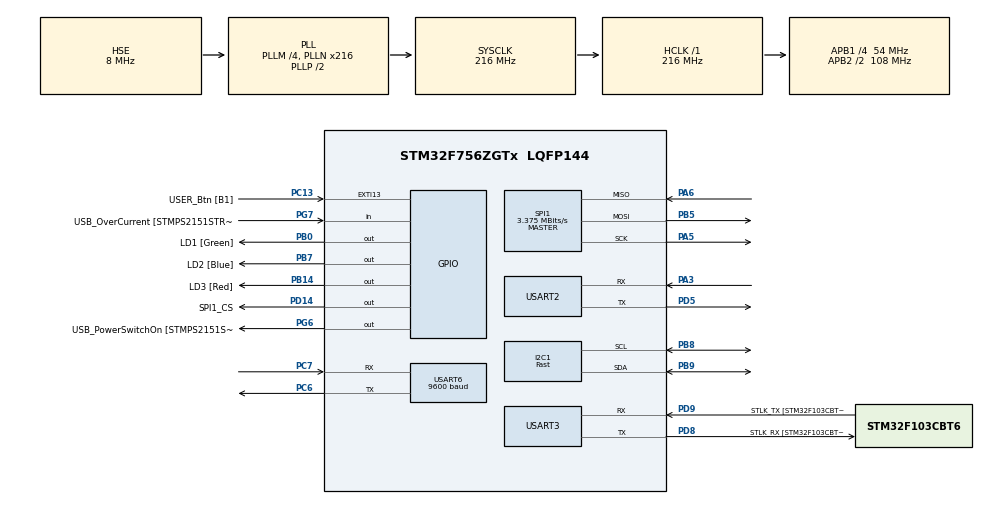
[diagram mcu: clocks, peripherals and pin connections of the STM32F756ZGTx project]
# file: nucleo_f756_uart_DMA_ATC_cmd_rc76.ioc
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Dma.I2C1_RX.2.Direction=DMA_PERIPH_TO_MEMORY
Dma.I2C1_RX.2.FIFOMode=DMA_FIFOMODE_DISABLE
Dma.I2C1_RX.2.Instance=DMA1_Stream0
Dma.I2C1_RX.2.MemDataAlignment=DMA_MDATAALIGN_BYTE
Dma.I2C1_RX.2.MemInc=DMA_MINC_ENABLE
Dma.I2C1_RX.2.Mode=DMA_NORMAL
Dma.I2C1_RX.2.PeriphDataAlignment=DMA_PDATAALIGN_BYTE
Dma.I2C1_RX.2.PeriphInc=DMA_PINC_DISABLE
Dma.I2C1_RX.2.Priority=DMA_PRIORITY_MEDIUM
Dma.I2C1_TX.3.Direction=DMA_MEMORY_TO_PERIPH
Dma.I2C1_TX.3.FIFOMode=DMA_FIFOMODE_DISABLE
Dma.I2C1_TX.3.Instance=DMA1_Stream7
Dma.I2C1_TX.3.MemDataAlignment=DMA_MDATAALIGN_BYTE
Dma.I2C1_TX.3.MemInc=DMA_MINC_ENABLE
Dma.I2C1_TX.3.Mode=DMA_NORMAL
Dma.I2C1_TX.3.PeriphDataAlignment=DMA_PDATAALIGN_BYTE
Dma.I2C1_TX.3.PeriphInc=DMA_PINC_DISABLE
Dma.I2C1_TX.3.Priority=DMA_PRIORITY_MEDIUM
Dma.Request0=USART2_RX
Dma.Request1=USART2_TX
Dma.Request2=I2C1_RX
Dma.Request3=I2C1_TX
Dma.Request4=SPI1_RX
Dma.Request5=SPI1_TX
Dma.Request6=USART6_RX
Dma.SPI1_RX.4.Direction=DMA_PERIPH_TO_MEMORY
Dma.SPI1_RX.4.FIFOMode=DMA_FIFOMODE_ENABLE
Dma.SPI1_RX.4.FIFOThreshold=DMA_FIFO_THRESHOLD_HALFFULL
Dma.SPI1_RX.4.Instance=DMA2_Stream0
Dma.SPI1_RX.4.MemBurst=DMA_MBURST_SINGLE
Dma.SPI1_RX.4.MemDataAlignment=DMA_MDATAALIGN_BYTE
Dma.SPI1_RX.4.MemInc=DMA_MINC_ENABLE
Dma.SPI1_RX.4.Mode=DMA_NORMAL
Dma.SPI1_RX.4.PeriphBurst=DMA_PBURST_SINGLE
Dma.SPI1_RX.4.PeriphDataAlignment=DMA_PDATAALIGN_BYTE
Dma.SPI1_RX.4.PeriphInc=DMA_PINC_DISABLE
Dma.SPI1_RX.4.Priority=DMA_PRIORITY_VERY_HIGH
Dma.SPI1_TX.5.Direction=DMA_MEMORY_TO_PERIPH
Dma.SPI1_TX.5.FIFOMode=DMA_FIFOMODE_ENABLE
Dma.SPI1_TX.5.FIFOThreshold=DMA_FIFO_THRESHOLD_HALFFULL
Dma.SPI1_TX.5.Instance=DMA2_Stream3
Dma.SPI1_TX.5.MemBurst=DMA_MBURST_SINGLE
Dma.SPI1_TX.5.MemDataAlignment=DMA_MDATAALIGN_BYTE
Dma.SPI1_TX.5.MemInc=DMA_MINC_ENABLE
Dma.SPI1_TX.5.Mode=DMA_NORMAL
Dma.SPI1_TX.5.PeriphBurst=DMA_PBURST_SINGLE
Dma.SPI1_TX.5.PeriphDataAlignment=DMA_PDATAALIGN_BYTE
Dma.SPI1_TX.5.PeriphInc=DMA_PINC_DISABLE
Dma.SPI1_TX.5.Priority=DMA_PRIORITY_VERY_HIGH
Dma.USART2_RX.0.Direction=DMA_PERIPH_TO_MEMORY
Dma.USART2_RX.0.FIFOMode=DMA_FIFOMODE_DISABLE
Dma.USART2_RX.0.Instance=DMA1_Stream5
Dma.USART2_RX.0.MemDataAlignment=DMA_MDATAALIGN_BYTE
Dma.USART2_RX.0.MemInc=DMA_MINC_ENABLE
Dma.USART2_RX.0.Mode=DMA_CIRCULAR
Dma.USART2_RX.0.PeriphDataAlignment=DMA_PDATAALIGN_BYTE
Dma.USART2_RX.0.PeriphInc=DMA_PINC_DISABLE
Dma.USART2_RX.0.Priority=DMA_PRIORITY_LOW
Dma.USART2_TX.1.Direction=DMA_MEMORY_TO_PERIPH
Dma.USART2_TX.1.FIFOMode=DMA_FIFOMODE_DISABLE
Dma.USART2_TX.1.Instance=DMA1_Stream6
Dma.USART2_TX.1.MemDataAlignment=DMA_MDATAALIGN_BYTE
Dma.USART2_TX.1.MemInc=DMA_MINC_ENABLE
Dma.USART2_TX.1.Mode=DMA_NORMAL
Dma.USART2_TX.1.PeriphDataAlignment=DMA_PDATAALIGN_BYTE
Dma.USART2_TX.1.PeriphInc=DMA_PINC_DISABLE
Dma.USART2_TX.1.Priority=DMA_PRIORITY_LOW
Dma.USART6_RX.6.Direction=DMA_PERIPH_TO_MEMORY
Dma.USART6_RX.6.FIFOMode=DMA_FIFOMODE_DISABLE
Dma.USART6_RX.6.Instance=DMA2_Stream1
Dma.USART6_RX.6.MemDataAlignment=DMA_MDATAALIGN_BYTE
Dma.USART6_RX.6.MemInc=DMA_MINC_ENABLE
Dma.USART6_RX.6.Mode=DMA_CIRCULAR
Dma.USART6_RX.6.PeriphDataAlignment=DMA_PDATAALIGN_BYTE
Dma.USART6_RX.6.PeriphInc=DMA_PINC_DISABLE
Dma.USART6_RX.6.Priority=DMA_PRIORITY_VERY_HIGH
FREERTOS.Tasks01=defaultTask,24,128,StartDefaultTask,Default,NULL,Dynamic,NULL,NULL
FREERTOS.configENABLE_FPU=1
FREERTOS.configTOTAL_HEAP_SIZE=30720
I2C1.I2C_Speed_Mode=I2C_Fast
I2C1.Timing=0x6000030D
Mcu.Family=STM32F7
Mcu.Name=STM32F756ZGTx
Mcu.Package=LQFP144
NVIC.DMA1_Stream0_IRQn=true\:5\:0\:false\:false\:true\:true\:false\:true\:true
NVIC.DMA1_Stream5_IRQn=true\:5\:0\:false\:false\:true\:true\:false\:true\:true
NVIC.DMA1_Stream6_IRQn=true\:5\:0\:false\:false\:true\:true\:false\:true\:true
NVIC.DMA1_Stream7_IRQn=true\:5\:0\:false\:false\:true\:true\:false\:true\:true
NVIC.DMA2_Stream0_IRQn=true\:5\:0\:false\:false\:true\:true\:false\:true\:true
NVIC.DMA2_Stream1_IRQn=true\:5\:0\:false\:false\:true\:true\:false\:true\:true
NVIC.DMA2_Stream3_IRQn=true\:5\:0\:false\:false\:true\:true\:false\:true\:true
NVIC.I2C1_ER_IRQn=true\:5\:0\:false\:false\:true\:true\:true\:true\:true
NVIC.I2C1_EV_IRQn=true\:5\:0\:false\:false\:true\:true\:true\:true\:true
NVIC.PriorityGroup=NVIC_PRIORITYGROUP_4
NVIC.SPI1_IRQn=true\:5\:0\:false\:false\:true\:true\:true\:true\:true
NVIC.TIM6_DAC_IRQn=true\:15\:0\:false\:false\:true\:false\:false\:true\:true
NVIC.TimeBase=TIM6_DAC_IRQn
NVIC.TimeBaseIP=TIM6
NVIC.USART2_IRQn=true\:5\:0\:false\:false\:true\:true\:true\:true\:true
NVIC.USART6_IRQn=true\:5\:0\:false\:false\:true\:true\:true\:true\:true
NimaLTD.I-CUBE-ATC.4.2.2.ATC_DEBUG=ATC_DEBUG_ENABLE
NimaLTD.I-CUBE-ATC.4.2.2.ATC_RTOS=ATC_RTOS_CMSIS_V2
PA1.GPIO_Label=RMII_REF_CLK [LAN8742A-CZ-TR_REFCLK0]
PA1.Signal=ETH_REF_CLK
PA10.GPIO_Label=USB_ID
PA10.Signal=USB_OTG_FS_ID
PA11.GPIO_Label=USB_DM
PA11.Signal=USB_OTG_FS_DM
PA12.GPIO_Label=USB_DP
PA12.Signal=USB_OTG_FS_DP
PA13.GPIO_Label=TMS
PA13.Mode=Serial_Wire
PA13.Signal=SYS_JTMS-SWDIO
PA14.GPIO_Label=TCK
PA14.Mode=Serial_Wire
PA14.Signal=SYS_JTCK-SWCLK
PA2.GPIO_Label=RMII_MDIO [LAN8742A-CZ-TR_MDIO]
PA2.Signal=ETH_MDIO
PA3.Mode=Asynchronous
PA3.Signal=USART2_RX
PA5.Mode=Full_Duplex_Master
PA5.Signal=SPI1_SCK
PA6.Mode=Full_Duplex_Master
PA6.Signal=SPI1_MISO
PA7.GPIO_Label=RMII_CRS_DV [LAN8742A-CZ-TR_CRS_DV]
PA7.Signal=ETH_CRS_DV
PA8.GPIO_Label=USB_SOF [TP1]
PA8.Signal=USB_OTG_FS_SOF
PA9.GPIO_Label=USB_VBUS
PA9.Signal=USB_OTG_FS_VBUS
PB0.GPIO_Label=LD1 [Green]
PB0.Signal=GPIO_Output
PB13.GPIO_Label=RMII_TXD1 [LAN8742A-CZ-TR_TXD1]
PB13.Signal=ETH_TXD1
PB14.GPIO_Label=LD3 [Red]
PB14.Signal=GPIO_Output
PB3.GPIO_Label=SW0
PB3.Signal=SYS_JTDO-SWO
PB5.Mode=Full_Duplex_Master
PB5.Signal=SPI1_MOSI
PB7.GPIO_Label=LD2 [Blue]
PB7.Signal=GPIO_Output
PB8.Mode=I2C
PB8.Signal=I2C1_SCL
PB9.Mode=I2C
PB9.Signal=I2C1_SDA
PC1.GPIO_Label=RMII_MDC [LAN8742A-CZ-TR_MDC]
PC1.Signal=ETH_MDC
PC13.GPIO_Label=USER_Btn [B1]
PC13.Signal=GPXTI13
PC14/OSC32_IN.Mode=LSE-External-Oscillator
PC14/OSC32_IN.Signal=RCC_OSC32_IN
PC15/OSC32_OUT.Mode=LSE-External-Oscillator
PC15/OSC32_OUT.Signal=RCC_OSC32_OUT
PC4.GPIO_Label=RMII_RXD0 [LAN8742A-CZ-TR_RXD0]
PC4.Signal=ETH_RXD0
PC5.GPIO_Label=RMII_RXD1 [LAN8742A-CZ-TR_RXD1]
PC5.Signal=ETH_RXD1
PC6.Mode=Asynchronous
PC6.Signal=USART6_TX
PC7.Mode=Asynchronous
PC7.Signal=USART6_RX
PD14.GPIO_Label=SPI1_CS
PD14.GPIO_Speed=GPIO_SPEED_FREQ_VERY_HIGH
PD14.PinState=GPIO_PIN_SET
PD14.Signal=GPIO_Output
PD5.Mode=Asynchronous
PD5.Signal=USART2_TX
PD8.GPIO_Label=STLK_RX [STM32F103CBT6_PA3]
PD8.Mode=Asynchronous
PD8.Signal=USART3_TX
PD9.GPIO_Label=STLK_TX [STM32F103CBT6_PA2]
PD9.Mode=Asynchronous
PD9.Signal=USART3_RX
PG11.GPIO_Label=RMII_TX_EN [LAN8742A-CZ-TR_TXEN]
PG11.Signal=ETH_TX_EN
PG13.GPIO_Label=RMII_TXD0 [LAN8742A-CZ-TR_TXD0]
PG13.Signal=ETH_TXD0
PG6.GPIO_Label=USB_PowerSwitchOn [STMPS2151STR_EN]
PG6.Signal=GPIO_Output
PG7.GPIO_Label=USB_OverCurrent [STMPS2151STR_FAULT]
PG7.Signal=GPIO_Input
PH0/OSC_IN.GPIO_Label=MCO [STM32F103CBT6_PA8]
PH0/OSC_IN.Mode=HSE-External-Clock-Source
PH0/OSC_IN.Signal=RCC_OSC_IN
PH1/OSC_OUT.Mode=HSE-External-Clock-Source
PH1/OSC_OUT.Signal=RCC_OSC_OUT
ProjectManager.HeapSize=0x2000
ProjectManager.StackSize=0x500
ProjectManager.TargetToolchain=CMake
RCC.48MHZClocksFreq_Value=24000000
RCC.AHBFreq_Value=216000000
RCC.APB1CLKDivider=RCC_HCLK_DIV4
RCC.APB1Freq_Value=54000000
RCC.APB1TimFreq_Value=108000000
RCC.APB2CLKDivider=RCC_HCLK_DIV2
RCC.APB2Freq_Value=108000000
RCC.APB2TimFreq_Value=216000000
RCC.CortexFreq_Value=216000000
RCC.HCLKFreq_Value=216000000
RCC.HSE_VALUE=8000000
RCC.HSI_VALUE=16000000
RCC.PLLM=4
RCC.PLLMUL=RCC_PLL_MUL9
RCC.PLLN=216
RCC.PLLQ=3
RCC.PLLSourceVirtual=RCC_PLLSOURCE_HSE
RCC.PRESCALERUSB=RCC_USBCLKSOURCE_PLL_DIV1_5
RCC.SYSCLKFreq_VALUE=216000000
RCC.SYSCLKSource=RCC_SYSCLKSOURCE_PLLCLK
RCC.SYSCLKSourceVirtual=RCC_SYSCLKSOURCE_PLLCLK
RCC.USBFreq_Value=144000000
RCC.VCOOutputFreq_Value=432000000
SPI1.BaudRatePrescaler=SPI_BAUDRATEPRESCALER_32
SPI1.CalculateBaudRate=3.375 MBits/s
SPI1.DataSize=SPI_DATASIZE_8BIT
SPI1.Direction=SPI_DIRECTION_2LINES
SPI1.Mode=SPI_MODE_MASTER
SPI1.VirtualType=VM_MASTER
USART2.VirtualMode-Asynchronous=VM_ASYNC
USART3.VirtualMode-Asynchronous=VM_ASYNC
USART6.BaudRate=9600
USART6.VirtualMode-Asynchronous=VM_ASYNC
VP_FREERTOS_VS_CMSIS_V2.Mode=CMSIS_V2
VP_SYS_VS_tim6.Mode=TIM6
board=NUCLEO-F756ZG

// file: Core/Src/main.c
/* USER CODE BEGIN Header */
/**
  ******************************************************************************
  * @file           : main.c
  * @brief          : Main program body
  ******************************************************************************
  * @attention
  *
  * Copyright (c) 2025 STMicroelectronics.
  * All rights reserved.
  *
  * This software is licensed under terms that can be found in the LICENSE file
  * in the root directory of this software component.
  * If no LICENSE file comes with this software, it is provided AS-IS.
  *
  ******************************************************************************
  */
/* USER CODE END Header */
#include "main.h"
#include "cmsis_os.h"
#include "dma.h"
#include "i2c.h"
#include "spi.h"
#include "usart.h"
#include "gpio.h"

/* USER CODE BEGIN Includes */
#include "config.h"
#include "print.h"
#include "mqtt_secrets.h"
#include "rc76xx_mqtt.h"
#include "stdio.h"
#include "stdlib.h"
#include "string.h"
#include "uat_freertos.h" // your parser header

#include "bme280_tasks.h"
// #include "bme280.h"
// #include "bme280_porting.h"
#include "datalogger.h"

// #include "w25qxx_hal.h"  // not use.
#include "driver_w25qxx_interface.h"
#include "driver_w25qxx_basic.h"
#include "mpu6050_task.h"
#include "sensor_conversions.h"

#include "lwgps.h"
#include "peripheral_init_helper.h"
/* USER CODE END Includes */

/* USER CODE BEGIN PD */
// Ring buffer configuration (64KB FIFO)
// #define FLASH_RING_BUFFER_SIZE (64 * 1024)  // 64KB - can be changed later
#define RING_BUFFER_START_ADDRESS (DATA_START_ADDRESS)
#define RING_BUFFER_END_ADDRESS (RING_BUFFER_START_ADDRESS + FLASH_RING_BUFFER_SIZE)
#define RECORDS_PER_PAGE (W25Q64_PAGE_SIZE / sizeof(BME280_Record_t))

// Queue configuration
#define QUEUE_SEND_TIMEOUT_MS 1000
// #define DATA_LOGGER_QUEUE_SIZE 20
#define MAX_QUEUE_WAIT_MS 1000
//#define QUEUE_SEND_TIMEOUT_MS 1000
// #define DATA_LOGGER_QUEUE_SIZE 20
//#define MAX_QUEUE_WAIT_MS 1000

#define GPS_RX_SIZE 512
/* USER CODE END PD */

/* USER CODE BEGIN PV */
extern UART_HandleTypeDef huart2;
extern I2C_HandleTypeDef hi2c1;
extern SPI_HandleTypeDef hspi1;
static RC76XX_Handle_t mqttHandle;
// struct bme280_dev bme_device;
// struct bme280_data bme_comp_data;

// lwgps variables
volatile uint8_t gps_dma_flag = 0;
uint8_t gpsRx[GPS_RX_SIZE];
lwgps_t hgps;

/* USER CODE END PV */

void SystemClock_Config(void);
void MX_FREERTOS_Init(void);
/* USER CODE BEGIN PFP */
// static void App_Task(void *pvParameters);
static void MQTT_Task(void *pvParameters);
// void StartBme280Task(void *argument);
void StartW25QTestTask(void *argument);
void StartDataLoggerTask(void *argument);
void vGpsTaskStart(void *argument);

// // Queue interface functions (non-static, called from other tasks)
// BaseType_t DataLogger_QueueBME280Data(struct bme280_data *bme_data);
// BaseType_t DataLogger_QueueSystemEvent(const char *event_text);

// BME280 Task and helper functions
// void StartBme280Task(void *argument);

void PrintBufferHex(const uint8_t *buffer, uint32_t size, uint32_t baseAddress);
/* USER CODE END PFP */

/* USER CODE BEGIN 0 */

void HAL_UART_RxCpltCallback(UART_HandleTypeDef *huart)
{
  if (huart->Instance == USART6)
  {
    gps_dma_flag = 1;
  }
  /* If the huart1 buffer is full, mark the flag. */
}

// DMA completion callbacks
void HAL_SPI_TxCpltCallback(SPI_HandleTypeDef *hspi)
{
  BaseType_t xHigherPriorityTaskWoken = pdFALSE;

  if (hspi == &hspi1 && xW25QxxTaskHandle != NULL)
  {
    // Notify the waiting W25QXX task that TX is complete
    vTaskNotifyGiveFromISR(xW25QxxTaskHandle, &xHigherPriorityTaskWoken);

    // Perform context switch if necessary
    portYIELD_FROM_ISR(xHigherPriorityTaskWoken);
  }
}

void HAL_SPI_RxCpltCallback(SPI_HandleTypeDef *hspi)
{
  BaseType_t xHigherPriorityTaskWoken = pdFALSE;

  if (hspi == &hspi1 && xW25QxxTaskHandle != NULL)
  {
    // Notify the waiting W25QXX task that RX is complete
    vTaskNotifyGiveFromISR(xW25QxxTaskHandle, &xHigherPriorityTaskWoken);

    // Perform context switch if necessary
    portYIELD_FROM_ISR(xHigherPriorityTaskWoken);
  }
}

void HAL_SPI_TxRxCpltCallback(SPI_HandleTypeDef *hspi)
{
  BaseType_t xHigherPriorityTaskWoken = pdFALSE;

  if (hspi == &hspi1 && xW25QxxTaskHandle != NULL)
  {
    // Notify the waiting W25QXX task that TxRx is complete
    vTaskNotifyGiveFromISR(xW25QxxTaskHandle, &xHigherPriorityTaskWoken);

    // Perform context switch if necessary
    portYIELD_FROM_ISR(xHigherPriorityTaskWoken);
  }
}

void HAL_SPI_ErrorCallback(SPI_HandleTypeDef *hspi)
{
  BaseType_t xHigherPriorityTaskWoken = pdFALSE;

  if (hspi == &hspi1 && xW25QxxTaskHandle != NULL)
  {
    // Notify the waiting task even on error so it doesn't hang
    vTaskNotifyGiveFromISR(xW25QxxTaskHandle, &xHigherPriorityTaskWoken);

    // Perform context switch if necessary
    portYIELD_FROM_ISR(xHigherPriorityTaskWoken);
  }
}

/* USER CODE END 0 */

int main(void)
{

  /* MCU Configuration--------------------------------------------------------*/

  /* Reset of all peripherals, Initializes the Flash interface and the Systick. */
  HAL_Init();

  /* Configure the system clock */
  SystemClock_Config();

  /* Initialize all configured peripherals */
  MX_GPIO_Init();
  MX_DMA_Init();
  MX_USART2_UART_Init();
  MX_USART3_UART_Init();
  MX_I2C1_Init();
  MX_SPI1_Init();
  MX_USART6_UART_Init();
  /* USER CODE BEGIN 2 */

  /* Init scheduler */
  osKernelInitialize();
  // MX_FREERTOS_Init();
  // Create the print task
  BaseType_t printInitStatus = xPrintInit(CONFIG_TASK_PRIORITY_NORMAL);
  configASSERT(printInitStatus == pdPASS);
  DEBUG_PRINT_DEBUG("Print task created\n");

  // Initialize uAT parser on huart2
  uAT_Result_t result = uAT_Init(&huart2);
  if (result != UAT_OK) {
    // handle init error (blink LED, etc.)
    DEBUG_PRINT_ERROR("uAT parser initialization failed with error code: %d\n",
                      result);
    Error_Handler();
  }
  DEBUG_PRINT_DEBUG("uAT parser initialized\n");

  BaseType_t TaskStatus;
  // Create the uAT parser task
  // Create I2C mutex
  SemaphoreHandle_t g_i2c_mutex = NULL;

  // In main() or initialization function:
  g_i2c_mutex = xSemaphoreCreateMutex();
  configASSERT(g_i2c_mutex != NULL);
  DEBUG_PRINT_DEBUG("I2C mutex created\n");
  if (xSemaphoreTake(g_i2c_mutex, portMAX_DELAY) != pdTRUE)
  {
    DEBUG_PRINT_ERROR("Failed to take I2C mutex\n");
    Error_Handler();
  }
  DEBUG_PRINT_DEBUG("I2C mutex taken\n");
  if (xSemaphoreGive(g_i2c_mutex) != pdTRUE)
  {
    DEBUG_PRINT_ERROR("Failed to give I2C mutex\n");
    Error_Handler();
  }
  DEBUG_PRINT_DEBUG("I2C mutex given\n");

  // Create uAT parser task
  TaskStatus = xTaskCreate(uAT_Task,
                           "uAT_Task",
                           CONFIG_TASK_STACK_SIZE_UAT,
                           NULL,
                           CONFIG_TASK_PRIORITY_NORMAL,
                           NULL);
  configASSERT(TaskStatus == pdPASS);
  DEBUG_PRINT_DEBUG("uAT task created\n");

  TaskStatus = xTaskCreate(MQTT_Task,
                           "MQTT_Task",
                           CONFIG_TASK_STACK_SIZE_MQTT,
                           NULL,
                           CONFIG_TASK_PRIORITY_NORMAL,
                           NULL);
  configASSERT(TaskStatus == pdPASS);
  DEBUG_PRINT_DEBUG("MQTT task created\n");

  // Create the BME280 task
  TaskStatus = xTaskCreate(StartBme280Task,
                           "BME280_Task",
                           CONFIG_TASK_STACK_SIZE_BME280, // Adjust stack size as needed
                           (void *)g_i2c_mutex,
                           CONFIG_TASK_PRIORITY_NORMAL,
                           NULL);
  configASSERT(TaskStatus == pdPASS);
  DEBUG_PRINT_DEBUG("BME280 task created\n");
  // Create MPU6050 task
  TaskStatus = xTaskCreate(MPU6050_Task_Start,
                           "MPU6050",
                           CONFIG_TASK_STACK_SIZE_MPU6050,
                           (void *)g_i2c_mutex,
                           CONFIG_TASK_PRIORITY_NORMAL,
                           NULL);
  configASSERT(TaskStatus == pdPASS);
  DEBUG_PRINT_DEBUG("MPU6050 task created\n");

  // Create the Data Logger task
  TaskStatus = xTaskCreate(
                          StartDataLoggerTask,
                          "DataLogger",
                          CONFIG_TASK_STACK_SIZE_DATALOGGER,
                          NULL,
                          CONFIG_TASK_PRIORITY_NORMAL,
                          NULL);
  configASSERT(TaskStatus == pdPASS);
  DEBUG_PRINT_DEBUG("DataLogger task created\n");

  // Create the GPS task
  TaskStatus = xTaskCreate(vGpsTaskStart,
                           "GPS_Task",
                           CONFIG_TASK_STACK_SIZE_GPS,
                           NULL,
                           CONFIG_TASK_PRIORITY_NORMAL,
                           NULL);
  configASSERT(TaskStatus == pdPASS);
  DEBUG_PRINT_DEBUG("GPS task created\n");

  /* USER CODE END 2 */

  // /* Init scheduler */
  // osKernelInitialize();

  // /* Call init function for freertos objects (in cmsis_os2.c) */
  // MX_FREERTOS_Init();

  /* Start scheduler */
  osKernelStart();

  /* We should never get here as control is now taken by the scheduler */

  /* Infinite loop */
  while (1)
  {

  }
}

void SystemClock_Config(void)
{
  RCC_OscInitTypeDef RCC_OscInitStruct = {0};
  RCC_ClkInitTypeDef RCC_ClkInitStruct = {0};

  /** Configure LSE Drive Capability
  */
  HAL_PWR_EnableBkUpAccess();

  /** Configure the main internal regulator output voltage
  */
  __HAL_RCC_PWR_CLK_ENABLE();
  __HAL_PWR_VOLTAGESCALING_CONFIG(PWR_REGULATOR_VOLTAGE_SCALE1);

  /** Initializes the RCC Oscillators according to the specified parameters
  * in the RCC_OscInitTypeDef structure.
  */
  RCC_OscInitStruct.OscillatorType = RCC_OSCILLATORTYPE_HSE;
  RCC_OscInitStruct.HSEState = RCC_HSE_BYPASS;
  RCC_OscInitStruct.PLL.PLLState = RCC_PLL_ON;
  RCC_OscInitStruct.PLL.PLLSource = RCC_PLLSOURCE_HSE;
  RCC_OscInitStruct.PLL.PLLM = 4;
  RCC_OscInitStruct.PLL.PLLN = 216;
  RCC_OscInitStruct.PLL.PLLP = RCC_PLLP_DIV2;
  RCC_OscInitStruct.PLL.PLLQ = 3;
  if (HAL_RCC_OscConfig(&RCC_OscInitStruct) != HAL_OK)
  {
    Error_Handler();
  }

  /** Activate the Over-Drive mode
  */
  if (HAL_PWREx_EnableOverDrive() != HAL_OK)
  {
    Error_Handler();
  }

  /** Initializes the CPU, AHB and APB buses clocks
  */
  RCC_ClkInitStruct.ClockType = RCC_CLOCKTYPE_HCLK|RCC_CLOCKTYPE_SYSCLK
                              |RCC_CLOCKTYPE_PCLK1|RCC_CLOCKTYPE_PCLK2;
  RCC_ClkInitStruct.SYSCLKSource = RCC_SYSCLKSOURCE_PLLCLK;
  RCC_ClkInitStruct.AHBCLKDivider = RCC_SYSCLK_DIV1;
  RCC_ClkInitStruct.APB1CLKDivider = RCC_HCLK_DIV4;
  RCC_ClkInitStruct.APB2CLKDivider = RCC_HCLK_DIV2;

  if (HAL_RCC_ClockConfig(&RCC_ClkInitStruct, FLASH_LATENCY_7) != HAL_OK)
  {
    Error_Handler();
  }
}

/* USER CODE BEGIN 4 */
static int8_t ModemAndNetwork_Init(void *context) {
  (void)context; // Unused parameter
  DEBUG_PRINT_INFO("Modem and network initialization started\r\n");
  RC76XX_Result_t res;

  // Register all URC handlers
  res = RC76XX_RegisterURCHandlers(&mqttHandle);
  if (res != RC76XX_OK) {
    DEBUG_PRINT_ERROR("Failed to register URC handlers: %d\r\n", res);
    return -1;
  }
  DEBUG_PRINT_INFO("Registered all URC handlers\r\n");

  // Reset modem
  DEBUG_PRINT_INFO("Resetting modem...\r\n");
  res = RC76XX_Reset(&mqttHandle);
  if (res != RC76XX_OK) {
    DEBUG_PRINT_ERROR("Modem reset failed\r\n");
    return -1;
  }

  // Wait for modem to stabilize
  DEBUG_PRINT_INFO("Waiting for modem to stabilize (%d ms)...\r\n",
                   CONFIG_MODEM_RESET_DELAY_MS);
  vTaskDelay(pdMS_TO_TICKS(CONFIG_MODEM_RESET_DELAY_MS));

  // Initialize modem
  DEBUG_PRINT_INFO("Initializing modem...\r\n");
  res = RC76XX_Initialize(&mqttHandle);
  if (res != RC76XX_OK) {
    DEBUG_PRINT_ERROR("Modem initialization failed\r\n");
    return -1;
  }
  DEBUG_PRINT_INFO("Initialized, IMEI=%s\r\n", mqttHandle.imei);

  // Attach to network
  DEBUG_PRINT_INFO("Attaching to network...\r\n");
  res = RC76XX_NetworkAttach(&mqttHandle);
  if (res != RC76XX_OK) {
    DEBUG_PRINT_ERROR("Network attachment failed\r\n");
    return -1;
  }
  DEBUG_PRINT_INFO("Network ready, IP=%s\r\n", mqttHandle.ip);

  DEBUG_PRINT_INFO("Modem and network initialized successfully\r\n");
  return 0;
}

static int8_t MQTT_Connect(void *context) {
  (void)context; // Unused parameter
  DEBUG_PRINT_INFO("Connecting to MQTT broker...\r\n");
  RC76XX_Result_t res;

  // Connect to MQTT broker
  res = RC76XX_ConnectMQTT(&mqttHandle);
  if (res != RC76XX_OK) {
    DEBUG_PRINT_ERROR("MQTT connection failed\r\n");
    return -1;
  }

  DEBUG_PRINT_INFO("MQTT connected successfully\r\n");
  return 0;
}

/**
 * @brief  MQTT_Task
 *         Runs the RC76xx MQTT state machine:
 *         Initialize → NetworkAttach → ConfigMQTT → ConnectMQTT → loop Publish/Subscribe
 */
static void MQTT_Task(void *argument) {
  (void)argument;
  RC76XX_Result_t res;
  SensorData_Combined_t sensor_data;

  // Step 1: Retry modem and network initialization
  InitRetryConfig_t modem_init_cfg = {
      .init_func = ModemAndNetwork_Init,
      .context = NULL,
      .max_retries = CONFIG_MODEM_INIT_MAX_RETRIES,
      .retry_delay_ms = CONFIG_MODEM_INIT_RETRY_DELAY_MS,
      .backoff_factor = CONFIG_TASK_ERROR_BACKOFF_FACTOR};

  if (Peripheral_InitWithRetry(&modem_init_cfg) != INIT_SUCCESS) {
    DEBUG_PRINT_ERROR(
        "Modem and network initialization failed after retries\r\n");
    vTaskDelete(NULL); // Terminate task
  }

  // Step 2: Configure MQTT
  const char *broker = CONFIG_MQTT_BROKER_HOSTNAME;
  const uint16_t port = CONFIG_MQTT_BROKER_PORT;
  const char *clientID = CONFIG_MQTT_CLIENT_ID;
  const char *user = CONFIG_MQTT_USERNAME;
  const char *pass = CONFIG_MQTT_PASSWORD;
  const char *subTopic = CONFIG_MQTT_SUBSCRIBE_TOPIC;
  const char *pubTopic = CONFIG_MQTT_PUBLISH_TOPIC;

  DEBUG_PRINT_INFO("Configuring MQTT %s:%u, ClientID=%s...\r\n", broker, port,
                   clientID);
  res = RC76XX_ConfigMQTT(&mqttHandle, broker, port, clientID, pubTopic, user,
                          pass, false, false, 120);
  if (res != RC76XX_OK) {
    DEBUG_PRINT_ERROR("MQTT configuration failed\r\n");
    vTaskDelete(NULL); // Terminate task
  }

  // Step 3: Retry MQTT connection
  InitRetryConfig_t mqtt_connect_cfg = {
      .init_func = MQTT_Connect,
      .context = NULL,
      .max_retries = CONFIG_TASK_ERROR_THRESHOLD,
      .retry_delay_ms = CONFIG_TASK_ERROR_RETRY_DELAY_MS_1000,
      .backoff_factor = CONFIG_TASK_ERROR_BACKOFF_FACTOR};

  if (Peripheral_InitWithRetry(&mqtt_connect_cfg) != INIT_SUCCESS) {
    DEBUG_PRINT_ERROR("MQTT connection failed after retries\r\n");
    vTaskDelete(NULL); // Terminate task
  }

  // Subscribe to a topic
  DEBUG_PRINT_INFO("Subscribing to %s...\r\n", subTopic);
  res = RC76XX_Subscribe(&mqttHandle, subTopic);
  if (res == RC76XX_OK) {
    DEBUG_PRINT_INFO("Subscribed to %s\r\n", subTopic);
  } else {
    DEBUG_PRINT_ERROR("Subscribe failed: %d\r\n", res);
  }

  // Main MQTT transmission loop
  for (;;) {
    if (xMQTTQueue != NULL &&
        xQueueReceive(xMQTTQueue, &sensor_data, pdMS_TO_TICKS(portMAX_DELAY)) ==
            pdTRUE) {
      char payload[400];
      snprintf(payload, sizeof(payload),
               "field1=%02f&field2=%02f&field3=%02f&field4=%02f&field5=%03f&"
               "field6=%03f&field7=%03f&field8=%03f&lat=%06f&long=%06f",
               sensor_data.bme_temperature, sensor_data.bme_pressure,
               sensor_data.bme_humidity, sensor_data.mpu_accel_x,
               sensor_data.mpu_accel_y, sensor_data.mpu_accel_z,
               sensor_data.mpu_gyro_x, sensor_data.mpu_gyro_y,
               sensor_data.gps_latitude, sensor_data.gps_longitude);

      res = RC76XX_Publish(&mqttHandle, pubTopic, payload);
      if (res == RC76XX_OK) {
        DEBUG_PRINT_INFO("MQTT: Publish successful\r\n");
      } else {
        DEBUG_PRINT_ERROR("MQTT: Publish failed: %d\r\n", res);
      }
    }

    vTaskDelay(pdMS_TO_TICKS(1));
  }
}

static int8_t GPS_Init(void *context) {
  (void)context; // Unused parameter
  DEBUG_PRINT_DEBUG("GPS: Initializing...\r\n");
  if (lwgps_init(&hgps) != 1) {
    DEBUG_PRINT_ERROR("GPS: lwgps_init failed\r\n");
    return -1;
  }
  if (HAL_UART_Receive_DMA(&huart6, gpsRx, GPS_RX_SIZE) != HAL_OK) {
    DEBUG_PRINT_ERROR("GPS: HAL_UART_Receive_DMA failed\r\n");
    return -1;
  }
  DEBUG_PRINT_DEBUG("GPS: Initialized successfully\r\n");
  return 0;
}

void vGpsTaskStart(void *argument)
{
  (void)argument;
  DEBUG_PRINT_INFO("GPS Task Started\r\n");
  SensorData_Combined_t current_sensor_data;

  // Retry GPS initialization
  InitRetryConfig_t gps_init_cfg = {
      .init_func = GPS_Init,
      .context = NULL,
      .max_retries = CONFIG_TASK_ERROR_THRESHOLD,
      .retry_delay_ms = CONFIG_TASK_ERROR_RETRY_DELAY_MS_1000,
      .backoff_factor = CONFIG_TASK_ERROR_BACKOFF_FACTOR};

  memset(gpsRx, 0, GPS_RX_SIZE);
  memset(&current_sensor_data, 0, sizeof(SensorData_Combined_t));
  // Initialize lwgps structure
  if (Peripheral_InitWithRetry(&gps_init_cfg) != INIT_SUCCESS) {
    DEBUG_PRINT_ERROR("GPS: Initialization failed after retries\r\n");
    vTaskDelete(NULL); // Terminate task
  }

  for (;;)
  {
    if (gps_dma_flag == 1)
    {

      if (lwgps_process(&hgps, gpsRx, GPS_RX_SIZE) != 1)
      {
        DEBUG_PRINT_ERROR("GPS: Processing failed\r\n");
        gps_dma_flag = 0; // Reset flag to avoid reprocessing
        continue;
      }
      current_sensor_data.gps_longitude = hgps.longitude;
      current_sensor_data.gps_latitude = hgps.latitude;
      current_sensor_data.gps_altitude = hgps.altitude + hgps.geo_sep;
      current_sensor_data.gps_speed = hgps.speed * 1.852f;
      if(current_sensor_data.gps_longitude != 0 && current_sensor_data.gps_altitude != 0){
        // convert_combined_sensor_data_to_int_optimized(&current_sensor_data, &gps_task_sensor_data);

        float speed_kmh = hgps.speed * 1.852f;             // Convert knots to km/h
        float altitude_msl = hgps.altitude + hgps.geo_sep; // Mean sea level altitude

        BaseType_t result = DataLogger_UpdateGPSData(
            (float)hgps.latitude, (float)hgps.longitude, (float)altitude_msl,
            (float)speed_kmh);

        if (result != pdTRUE)
        {
          DEBUG_PRINT_ERROR("GPS: Failed to send data to datalogger\r\n");
        }
      }

      // DEBUG_PRINT_DEBUG("---\r\n");
      DEBUG_PRINT_DEBUG("Valid status: %d\r\n", hgps.is_valid);
      DEBUG_PRINT_DEBUG("Time: %02d:%02d:%02d\r\n", hgps.hours, hgps.minutes, hgps.seconds);
      DEBUG_PRINT_DEBUG("Latitude Float: %f\r\n", hgps.latitude);
      DEBUG_PRINT_DEBUG("Longitude Float: %f\r\n", hgps.longitude);
      DEBUG_PRINT_DEBUG("Altitude Float: %f\r\n", hgps.altitude + hgps.geo_sep);
      DEBUG_PRINT_DEBUG("Speed Float: %f\r\n", hgps.speed * 1.852f);
      DEBUG_PRINT_DEBUG("Dop: %f, %f, %f\r\n", hgps.dop_h, hgps.dop_v, hgps.dop_v);
      gps_dma_flag = 0;
    }
    vTaskDelay(pdMS_TO_TICKS(1000));
  }
}

/* USER CODE END 4 */

void HAL_TIM_PeriodElapsedCallback(TIM_HandleTypeDef *htim)
{
  if (htim->Instance == TIM6) {
    HAL_IncTick();
  }
}

void Error_Handler(void)
{
  /* USER CODE BEGIN Error_Handler_Debug */
  /* User can add his own implementation to report the HAL error return state */
  __disable_irq();
  while (1)
  {
    HAL_GPIO_TogglePin(LD3_GPIO_Port, LD3_Pin);
    HAL_Delay(1000);
  }
  /* USER CODE END Error_Handler_Debug */
}

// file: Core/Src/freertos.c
/* USER CODE BEGIN Header */
/**
  ******************************************************************************
  * File Name          : freertos.c
  * Description        : Code for freertos applications
  ******************************************************************************
  * @attention
  *
  * Copyright (c) 2025 STMicroelectronics.
  * All rights reserved.
  *
  * This software is licensed under terms that can be found in the LICENSE file
  * in the root directory of this software component.
  * If no LICENSE file comes with this software, it is provided AS-IS.
  *
  ******************************************************************************
  */
/* USER CODE END Header */

#include "FreeRTOS.h"
#include "task.h"
#include "main.h"
#include "cmsis_os.h"

/* USER CODE BEGIN Includes */
#include "stdio.h"
// #include "print.h"
/* USER CODE END Includes */

/* Definitions for defaultTask */
osThreadId_t defaultTaskHandle;
const osThreadAttr_t defaultTask_attributes = {
  .name = "defaultTask",
  .stack_size = 128 * 4,
  .priority = (osPriority_t) osPriorityNormal,
};

void StartDefaultTask(void *argument);

void MX_FREERTOS_Init(void); /* (MISRA C 2004 rule 8.1) */

void MX_FREERTOS_Init(void) {

  /* USER CODE BEGIN RTOS_QUEUES */
  // configASSERT(xPrintInit((osPriority_t)osPriorityNormal));
  /* add queues, ... */
  /* USER CODE END RTOS_QUEUES */

  /* Create the thread(s) */
  /* creation of defaultTask */
  defaultTaskHandle = osThreadNew(StartDefaultTask, NULL, &defaultTask_attributes);

  /* USER CODE BEGIN RTOS_THREADS */
  /* add threads, ... */
  configASSERT(defaultTaskHandle != NULL);
  /* USER CODE END RTOS_THREADS */

}

void StartDefaultTask(void *argument)
{
  /* USER CODE BEGIN StartDefaultTask */
  (void)argument;
  /* Infinite loop */
  for(;;)
  {
    osDelay(1000);
  }
  /* USER CODE END StartDefaultTask */
}

/* USER CODE BEGIN Application */

/**
 * @brief Callback function called when a stack overflow is detected in a task.
 *
 * This function is called by the RTOS when a stack overflow is detected in a
 * task. It prints the name of the task that caused the stack overflow and
 * then enters an infinite loop to halt the system.
 *
 * @param xTask The handle of the task that caused the stack overflow.
 * @param pcTaskName The name of the task that caused the stack overflow.
 */
void vApplicationStackOverflowHook(TaskHandle_t xTask, char *pcTaskName)
{
  printf("Stack overflow in task: %p %s\n",  (void *)xTask, pcTaskName);
  while (1)
  {
    HAL_GPIO_TogglePin(LD1_GPIO_Port, LD1_Pin);
    HAL_Delay(500);
  }
}
/**
 * @brief Callback function called when a memory allocation fails.
 *
 * This function is called by the system when a memory allocation fails. It
 * prints a message to the console indicating that the memory allocation
 * failed, and then enters an infinite loop to halt the system.
 */
void vApplicationMallocFailedHook(void)
{
  printf("Memory allocation failed!\n");
  while (1)
    ;
}
/**
 * @brief Monitors the stack usage of each task in the system.
 *
 * This function checks the remaining stack space for the default task and
 * logs the value to the console. Additional checks for other tasks can be
 * added to this function.
 */
void monitorTaskStacks(void)
{
  UBaseType_t uxHighWaterMark;

  // Check each task's remaining stack
  uxHighWaterMark = uxTaskGetStackHighWaterMark(defaultTaskHandle);
  printf("Default Task Stack Remaining: %lu\n", uxHighWaterMark);

  // Add similar checks for other tasks
}
/* USER CODE END Application */
